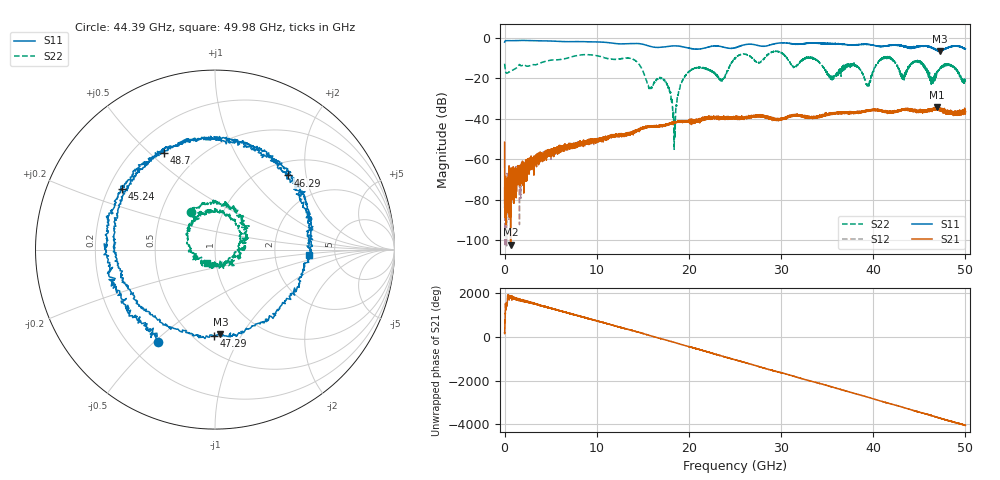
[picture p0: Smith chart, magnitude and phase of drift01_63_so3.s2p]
!Created with skrf (http://scikit-rf.org).
# Hz S RI R 50.0
!freq ReS11 ImS11 ReS21 ImS21 ReS12 ImS12 ReS22 ImS22
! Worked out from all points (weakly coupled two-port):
!   10001 points, 300 kHz to 50 GHz, reference 50 ohm
!   highest |S21| = -34.32 dB at 46.91 GHz (marker M1); lowest = -102.2 dB at 655.3 MHz (marker M2)
!   lowest |S11| = -6.5 dB at 47.27 GHz (marker M3), VSWR 2.79, Z = 33.4 - j40.5 ohm
!   |S11| at or under -10 dB: nowhere
!   |S22| runs from -55.2 to -6.6 dB; largest |S21 - S12| = 0.0034
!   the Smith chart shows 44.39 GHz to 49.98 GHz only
!   S11 on the Smith chart (normalised r, x): 44.39 GHz: 0.32, -0.51; 45.24 GHz: 0.25, +0.28; 46.29 GHz: 1.27, +1.58; 47.29 GHz: 0.62, -0.78; 48.7 GHz: 0.32, +0.56; 49.98 GHz: 3.17, -0.28
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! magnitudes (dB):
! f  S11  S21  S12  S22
! 300 kHz  -2.2  -51.6  -74.0  -12.9
! 255.3 MHz  -1.4  -72.5  -77.1  -17.5
! 655.3 MHz  -1.5  -102.2  -68.4  -16.6
! 8.335 GHz  -1.9  -52.8  -51.4  -8.5
! 16.67 GHz  -4.8  -43.5  -43.8  -20.0
! 18.45 GHz  -4.1  -42.2  -41.8  -44.9
! 19.95 GHz  -5.1  -41.8  -41.5  -17.0
! 23.63 GHz  -4.5  -39.5  -40.0  -20.8
! 25 GHz  -5.0  -39.8  -39.8  -10.2
! 33.34 GHz  -2.6  -39.1  -38.9  -10.0
! 39.43 GHz  -3.3  -36.1  -36.0  -23.8
! 41.67 GHz  -3.8  -36.8  -36.6  -9.9
! 43.19 GHz  -4.0  -35.8  -35.4  -20.3
! 44.39 GHz  -4.4  -36.1  -36.3  -12.2
! 45.24 GHz  -4.1  -36.7  -36.3  -12.9
! 46.29 GHz  -4.7  -35.7  -35.4  -20.2
! 46.91 GHz  -6.1  -34.3  -35.4  -17.1
! 47.27 GHz  -6.5  -35.8  -35.8  -14.9
! 47.29 GHz  -6.4  -35.8  -35.7  -15.0
! 48.7 GHz  -4.3  -37.2  -36.8  -14.4
! 49.98 GHz  -5.6  -36.6  -37.0  -21.2
! 50 GHz  -5.4  -36.6  -36.4  -21.7
